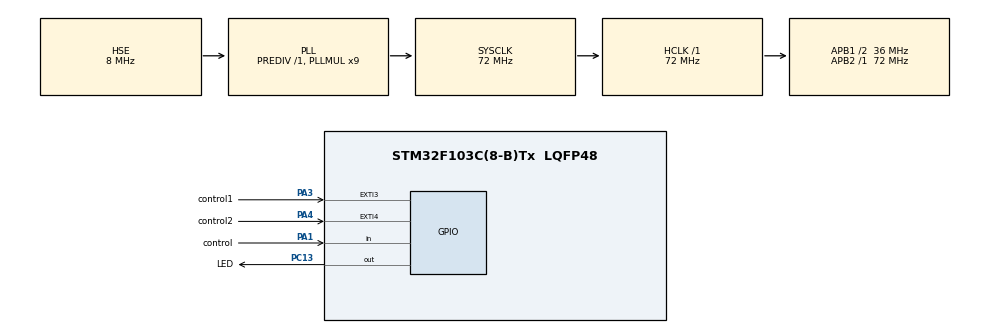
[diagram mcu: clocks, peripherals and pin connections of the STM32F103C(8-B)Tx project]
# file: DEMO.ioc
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Mcu.Family=STM32F1
Mcu.Name=STM32F103C(8-B)Tx
Mcu.Package=LQFP48
NVIC.EXTI3_IRQn=true\:0\:0\:false\:false\:true\:true\:true\:true
NVIC.EXTI4_IRQn=true\:0\:0\:false\:false\:true\:true\:true\:true
NVIC.PriorityGroup=NVIC_PRIORITYGROUP_4
NVIC.TIM1_UP_IRQn=true\:0\:0\:false\:false\:true\:true\:true\:true
PA1.GPIO_Label=control
PA1.GPIO_PuPd=GPIO_NOPULL
PA1.Signal=GPIO_Input
PA13.Mode=Serial_Wire
PA13.Signal=SYS_JTMS-SWDIO
PA14.Mode=Serial_Wire
PA14.Signal=SYS_JTCK-SWCLK
PA3.GPIO_Label=control1
PA3.GPIO_PuPd=GPIO_PULLDOWN
PA3.Signal=GPXTI3
PA4.GPIO_Label=control2
PA4.GPIO_ModeDefaultEXTI=GPIO_MODE_IT_RISING
PA4.GPIO_PuPd=GPIO_PULLDOWN
PA4.Signal=GPXTI4
PC13-TAMPER-RTC.GPIO_Label=LED
PC13-TAMPER-RTC.PinState=GPIO_PIN_RESET
PC13-TAMPER-RTC.Signal=GPIO_Output
PD0-OSC_IN.Mode=HSE-External-Oscillator
PD0-OSC_IN.Signal=RCC_OSC_IN
PD1-OSC_OUT.Mode=HSE-External-Oscillator
PD1-OSC_OUT.Signal=RCC_OSC_OUT
ProjectManager.HeapSize=0x200
ProjectManager.StackSize=0x400
ProjectManager.TargetToolchain=Makefile
RCC.AHBFreq_Value=72000000
RCC.APB1CLKDivider=RCC_HCLK_DIV2
RCC.APB1Freq_Value=36000000
RCC.APB1TimFreq_Value=72000000
RCC.APB2Freq_Value=72000000
RCC.APB2TimFreq_Value=72000000
RCC.HCLKFreq_Value=72000000
RCC.PLLMUL=RCC_PLL_MUL9
RCC.PLLSourceVirtual=RCC_PLLSOURCE_HSE
RCC.SYSCLKFreq_VALUE=72000000
RCC.SYSCLKSource=RCC_SYSCLKSOURCE_PLLCLK
RCC.USBFreq_Value=72000000
TIM1.ClockDivision=TIM_CLOCKDIVISION_DIV1
TIM1.Period=999
TIM1.Prescaler=7199
VP_TIM1_VS_ClockSourceINT.Mode=Internal
board=custom

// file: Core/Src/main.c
/* USER CODE BEGIN Header */
/**
  ******************************************************************************
  * @file           : main.c
  * @brief          : Main program body
  ******************************************************************************
  * @attention
  *
  * Copyright (c) 2025 STMicroelectronics.
  * All rights reserved.
  *
  * This software is licensed under terms that can be found in the LICENSE file
  * in the root directory of this software component.
  * If no LICENSE file comes with this software, it is provided AS-IS.
  *
  ******************************************************************************
  */
/* USER CODE END Header */
#include "main.h"
#include "tim.h"
#include "gpio.h"

/* USER CODE BEGIN PV */
int counter = 1;
/* USER CODE END PV */

void SystemClock_Config(void);

/* USER CODE BEGIN 0 */
volatile uint8_t led_mode = 0;  // 0:递增模式 1:递减模式 2:固定模式
volatile uint16_t current_n = 1; // 当前灭时间系数（灭时间 = n × 100ms）
volatile uint8_t led_state = 1;  // LED状态：1亮 0灭
volatile uint16_t time_counter = 0; // 时间计数器
volatile uint16_t target_count = 5; // 目标计数：亮固定5×100ms=0.5s
/* USER CODE END 0 */

int main(void)
{

  /* MCU Configuration--------------------------------------------------------*/

  /* Reset of all peripherals, Initializes the Flash interface and the Systick. */
  HAL_Init();

  /* Configure the system clock */
  SystemClock_Config();

  /* Initialize all configured peripherals */
  MX_GPIO_Init();
  MX_TIM1_Init();

  /* Infinite loop */
  /* USER CODE BEGIN WHILE */
  HAL_TIM_Base_Start_IT(&htim1); //启动定时器1并使能中断
  while (1)
  {

  }
    /* USER CODE END WHILE */

}

void SystemClock_Config(void)
{
  RCC_OscInitTypeDef RCC_OscInitStruct = {0};
  RCC_ClkInitTypeDef RCC_ClkInitStruct = {0};

  /** Initializes the RCC Oscillators according to the specified parameters
  * in the RCC_OscInitTypeDef structure.
  */
  RCC_OscInitStruct.OscillatorType = RCC_OSCILLATORTYPE_HSE;
  RCC_OscInitStruct.HSEState = RCC_HSE_ON;
  RCC_OscInitStruct.HSEPredivValue = RCC_HSE_PREDIV_DIV1;
  RCC_OscInitStruct.HSIState = RCC_HSI_ON;
  RCC_OscInitStruct.PLL.PLLState = RCC_PLL_ON;
  RCC_OscInitStruct.PLL.PLLSource = RCC_PLLSOURCE_HSE;
  RCC_OscInitStruct.PLL.PLLMUL = RCC_PLL_MUL9;
  if (HAL_RCC_OscConfig(&RCC_OscInitStruct) != HAL_OK)
  {
    Error_Handler();
  }

  /** Initializes the CPU, AHB and APB buses clocks
  */
  RCC_ClkInitStruct.ClockType = RCC_CLOCKTYPE_HCLK|RCC_CLOCKTYPE_SYSCLK
                              |RCC_CLOCKTYPE_PCLK1|RCC_CLOCKTYPE_PCLK2;
  RCC_ClkInitStruct.SYSCLKSource = RCC_SYSCLKSOURCE_PLLCLK;
  RCC_ClkInitStruct.AHBCLKDivider = RCC_SYSCLK_DIV1;
  RCC_ClkInitStruct.APB1CLKDivider = RCC_HCLK_DIV2;
  RCC_ClkInitStruct.APB2CLKDivider = RCC_HCLK_DIV1;

  if (HAL_RCC_ClockConfig(&RCC_ClkInitStruct, FLASH_LATENCY_2) != HAL_OK)
  {
    Error_Handler();
  }
}

/* USER CODE BEGIN 4 */
void HAL_TIM_PeriodElapsedCallback(TIM_HandleTypeDef *htim)
{
  if (htim->Instance == TIM1)
  {
    time_counter++;

    if (led_state == 1)
    { // LED is ON
      if (time_counter >= target_count)
      {
        HAL_GPIO_WritePin(LED_GPIO_Port, LED_Pin, GPIO_PIN_SET); // Turn OFF LED
        led_state = 0;
        time_counter = 0;
        __disable_irq();
        if (led_mode == 0) {
          current_n++;
        } else if (led_mode == 1) {
          if(current_n > 1) current_n--;
          else {
            current_n = 1;
          } // 立即进行边界检查
        } else if (led_mode == 2) {
          current_n = 5;
        }
        __enable_irq();

        target_count = current_n; // 更新灭灯时间目标
      }
    }
    else
    { // LED is OFF
      if (time_counter >= target_count)
      { // 修正：统一使用target_count判断
        HAL_GPIO_WritePin(LED_GPIO_Port, LED_Pin, GPIO_PIN_RESET); // Turn ON LED
        led_state = 1;
        time_counter = 0;
        target_count = 5; // 亮灯时间固定
      }
    }
  }
}
void HAL_GPIO_EXTI_Callback(uint16_t GPIO_Pin)
{
  if (GPIO_Pin == GPIO_PIN_3) {
    // 切换到递减模式
    __disable_irq();
    led_mode = 1;
    __enable_irq();
  } else if (GPIO_Pin == GPIO_PIN_4) {
    // 切换到固定间隔模式
    __disable_irq();
    led_mode = 2;
    __enable_irq();
  }
}
/* USER CODE END 4 */

void Error_Handler(void)
{
  __disable_irq();
  while (1)
  {
  }
}
